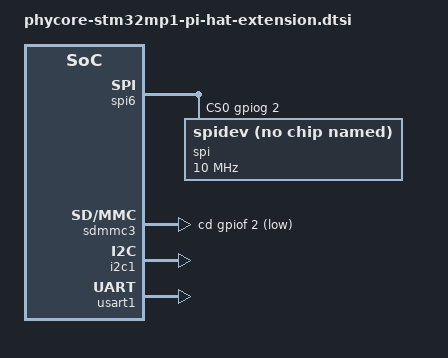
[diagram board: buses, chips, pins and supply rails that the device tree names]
// SPDX-License-Identifier: (GPL-2.0+ OR BSD-3-Clause)
/*
 * Copyright (C) PHYTEC GmbH 2019 - All Rights Reserved
 * Author: Dom VOVARD <dom.vovard@linrt.com>.
 */


&spi6 {
	cs-gpios = <&gpiog 2 0>;
	status = "okay";

	spi@0 {
                compatible = "linux,spidev";
                spi-max-frequency = <10000000>;
                reg = <0>;
        };
};

&sdmmc3 {
       cd-gpios = <&gpiof 2 GPIO_ACTIVE_LOW>;
	status = "okay";
};

&i2c1 {
        status = "okay";
};

&usart1 {
        status = "okay";
};
